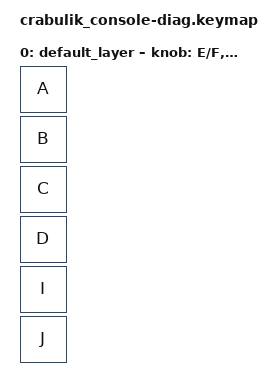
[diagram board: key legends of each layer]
/*
 * DIAGNOSTIC keymap (not the production one).
 *
 * Maps each physical input to a plain letter so you can verify in a key tester
 * which switches/encoders actually register. Used only by scripts\build-diag.ps1
 * via ZMK's -DKEYMAP_FILE override; the real keymap (crabulik_console.keymap) is
 * untouched. The shield overlay + .conf ARE shared, so this build includes the
 * encoder and Button 4 hardware definitions — only the bindings differ.
 *
 *   Pin 2  (017)   -> A      (US button)
 *   Pin 3  (020)   -> B      (UA button)
 *   Pin 6  (P1.00) -> C      (Clear-Bluetooth button)
 *   Pin 9  (1.06)  -> D      (EC11 push-click / Button 4)
 *   Pin 18 (1.15)  -> I      (Button 5 / Prev track)
 *   Pin 19 (0.02)  -> J      (Button 6 / Next track)
 *   EC11 rotation  -> E (CW) / F (CCW)
 *   Mouse wheel    -> G (CW) / H (CCW)
 *
 * A working input types its letter(s); a dead/unwired one types nothing. The
 * encoders emit plain keypresses here (not scroll/volume) so they show up in a
 * key tester too.
 */
#include <behaviors.dtsi>
#include <dt-bindings/zmk/keys.h>

/ {
    keymap {
        compatible = "zmk,keymap";

        default_layer {
            bindings = <
                &kp A   /* Pin 2  (017)   - US button       */
                &kp B   /* Pin 3  (020)   - UA button       */
                &kp C   /* Pin 6  (P1.00) - Clear-BT        */
                &kp D   /* Pin 9  (1.06)  - EC11 push-click */
                &kp I   /* Pin 18 (1.15)  - Button 5        */
                &kp J   /* Pin 19 (0.02)  - Button 6        */
            >;

            /* 1st -> EC11 rotation, 2nd -> mouse wheel. Order matches the
             * `sensors` node in the shield overlay. */
            sensor-bindings = <&inc_dec_kp E F>, <&inc_dec_kp G H>;
        };
    };
};
